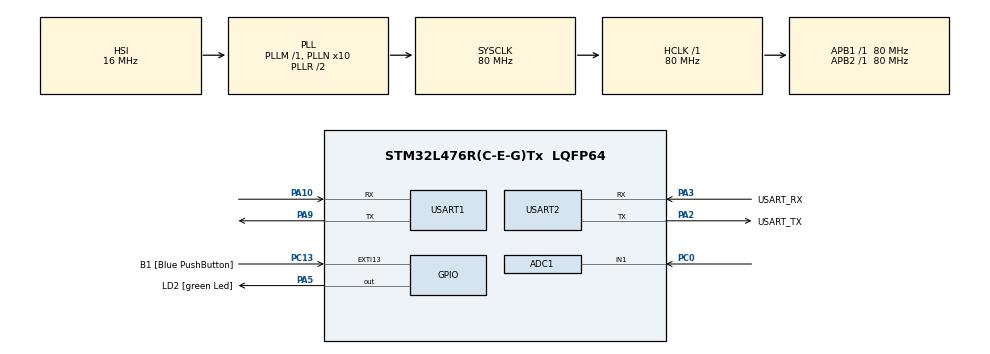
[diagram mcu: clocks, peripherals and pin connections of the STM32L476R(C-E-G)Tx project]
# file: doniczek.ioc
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ADC1.Channel-1\#ChannelRegularConversion=ADC_CHANNEL_1
ADC1.NbrOfConversionFlag=1
ADC1.OffsetNumber-1\#ChannelRegularConversion=ADC_OFFSET_NONE
ADC1.Rank-1\#ChannelRegularConversion=1
ADC1.SamplingTime-1\#ChannelRegularConversion=ADC_SAMPLETIME_2CYCLES_5
ADC1.master=1
Mcu.Family=STM32L4
Mcu.Name=STM32L476R(C-E-G)Tx
Mcu.Package=LQFP64
NVIC.PriorityGroup=NVIC_PRIORITYGROUP_4
PA0.Signal=ADCx_IN5
PA10.Mode=Asynchronous
PA10.Signal=USART1_RX
PA13\ (JTMS-SWDIO).GPIO_Label=TMS
PA13\ (JTMS-SWDIO).Mode=Serial_Wire
PA13\ (JTMS-SWDIO).Signal=SYS_JTMS-SWDIO
PA14\ (JTCK-SWCLK).GPIO_Label=TCK
PA14\ (JTCK-SWCLK).Mode=Serial_Wire
PA14\ (JTCK-SWCLK).Signal=SYS_JTCK-SWCLK
PA2.GPIO_Label=USART_TX
PA2.GPIO_Mode=GPIO_MODE_AF_PP
PA2.GPIO_PuPd=GPIO_NOPULL
PA2.GPIO_Speed=GPIO_SPEED_FREQ_VERY_HIGH
PA2.Mode=Asynchronous
PA2.Signal=USART2_TX
PA3.GPIO_Label=USART_RX
PA3.GPIO_Mode=GPIO_MODE_AF_PP
PA3.GPIO_PuPd=GPIO_NOPULL
PA3.GPIO_Speed=GPIO_SPEED_FREQ_VERY_HIGH
PA3.Mode=Asynchronous
PA3.Signal=USART2_RX
PA5.GPIO_Label=LD2 [green Led]
PA5.GPIO_ModeDefaultOutputPP=GPIO_MODE_OUTPUT_PP
PA5.GPIO_PuPd=GPIO_NOPULL
PA5.GPIO_Speed=GPIO_SPEED_FREQ_LOW
PA5.Signal=GPIO_Output
PA9.Mode=Asynchronous
PA9.Signal=USART1_TX
PB3\ (JTDO-TRACESWO).GPIO_Label=SWO
PB3\ (JTDO-TRACESWO).Signal=SYS_JTDO-SWO
PC0.Signal=ADCx_IN1
PC13.GPIO_Label=B1 [Blue PushButton]
PC13.GPIO_ModeDefaultEXTI=GPIO_MODE_IT_FALLING
PC13.GPIO_PuPd=GPIO_NOPULL
PC13.Signal=GPXTI13
PC14-OSC32_IN\ (PC14).Mode=LSE-External-Oscillator
PC14-OSC32_IN\ (PC14).Signal=RCC_OSC32_IN
PC15-OSC32_OUT\ (PC15).Mode=LSE-External-Oscillator
PC15-OSC32_OUT\ (PC15).Signal=RCC_OSC32_OUT
PH0-OSC_IN\ (PH0).Signal=RCC_OSC_IN
PH1-OSC_OUT\ (PH1).Signal=RCC_OSC_OUT
ProjectManager.HeapSize=0x200
ProjectManager.StackSize=0x400
ProjectManager.TargetToolchain=Makefile
RCC.ADCFreq_Value=64000000
RCC.AHBFreq_Value=80000000
RCC.APB1Freq_Value=80000000
RCC.APB1TimFreq_Value=80000000
RCC.APB2Freq_Value=80000000
RCC.APB2TimFreq_Value=80000000
RCC.CortexFreq_Value=80000000
RCC.HCLKFreq_Value=80000000
RCC.HSE_VALUE=8000000
RCC.HSI_VALUE=16000000
RCC.MSI_VALUE=4000000
RCC.PLLN=10
RCC.PLLSourceVirtual=RCC_PLLSOURCE_HSI
RCC.PREFETCH_ENABLE=1
RCC.SYSCLKFreq_VALUE=80000000
RCC.SYSCLKSource=RCC_SYSCLKSOURCE_PLLCLK
RCC.USBFreq_Value=64000000
RCC.VCOOutputFreq_Value=160000000
SH.ADCx_IN1.0=ADC1_IN1,IN1-Single-Ended
SH.ADCx_IN5.0=ADC1_IN5
USART1.VirtualMode-Asynchronous=VM_ASYNC
USART2.VirtualMode-Asynchronous=VM_ASYNC
board=NUCLEO-L476RG

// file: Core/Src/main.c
/* USER CODE BEGIN Header */
/**
  ******************************************************************************
  * @file           : main.c
  * @brief          : Main program body
  ******************************************************************************
  * @attention
  *
  * Copyright (c) 2023 STMicroelectronics.
  * All rights reserved.
  *
  * This software is licensed under terms that can be found in the LICENSE file
  * in the root directory of this software component.
  * If no LICENSE file comes with this software, it is provided AS-IS.
  *
  ******************************************************************************
  */
/* USER CODE END Header */
#include "main.h"

/* USER CODE BEGIN Includes */
#include "stdio.h"
/* USER CODE END Includes */

ADC_HandleTypeDef hadc1;

UART_HandleTypeDef huart1;
UART_HandleTypeDef huart2;

void SystemClock_Config(void);
static void MX_GPIO_Init(void);
static void MX_ADC1_Init(void);
static void MX_USART2_UART_Init(void);
static void MX_USART1_UART_Init(void);

/* USER CODE BEGIN 0 */

int __io_putchar(int ch)
{
  if (ch == '\n') {
    __io_putchar('\r');
  }

  HAL_UART_Transmit(&huart2, (uint8_t*)&ch, 1, HAL_MAX_DELAY);

  return 1;
}
/* USER CODE END 0 */

int main(void)
{
  /* USER CODE BEGIN 1 */
  char phoneNumber[30] = "AT+CMGS=\"+48*********\"\r\n";
  uint16_t raw;
  char msg[20];
  char gsm_test[10] = "AT\r\n";
  char response[20];
  /* USER CODE END 1 */

  /* MCU Configuration--------------------------------------------------------*/

  /* Reset of all peripherals, Initializes the Flash interface and the Systick. */
  HAL_Init();

  /* Configure the system clock */
  SystemClock_Config();

  /* Initialize all configured peripherals */
  MX_GPIO_Init();
  MX_ADC1_Init();
  MX_USART2_UART_Init();
  MX_USART1_UART_Init();
  /* USER CODE BEGIN 2 */
  HAL_UART_Transmit(&huart1,(uint8_t*)gsm_test,strlen(gsm_test),HAL_MAX_DELAY);
  HAL_UART_Receive(&huart1,(uint8_t*)response,10,1000);
  HAL_Delay(1000);
  HAL_UART_Transmit(&huart2,(uint8_t*)response,strlen(response),HAL_MAX_DELAY);
  /* USER CODE END 2 */

  /* Infinite loop */
  /* USER CODE BEGIN WHILE */
  while (1)
 {
  HAL_ADC_Start(&hadc1);
  HAL_ADC_PollForConversion(&hadc1, HAL_MAX_DELAY);

  raw = HAL_ADC_GetValue(&hadc1);
  float voltage = 3.3f * raw / 4096.0f;
  sprintf(msg, "Mamy wynik: %u\r\n",raw);

  // printf("ADC = %lu (%.3f V)\n", msg, voltage);
  // printf("XD\r\n");
  // HAL_UART_Transmit(&huart2,(uint8_t*)&msg,strlen(msg),HAL_MAX_DELAY);

  HAL_ADC_Start(&hadc1);
  HAL_ADC_PollForConversion(&hadc1, HAL_MAX_DELAY);

  uint32_t value = HAL_ADC_GetValue(&hadc1);
  printf("ADC = %lu\n", value);

  HAL_Delay(1000);
    /* USER CODE END WHILE */

  }
}

void SystemClock_Config(void)
{
  RCC_OscInitTypeDef RCC_OscInitStruct = {0};
  RCC_ClkInitTypeDef RCC_ClkInitStruct = {0};

  /** Configure the main internal regulator output voltage
  */
  if (HAL_PWREx_ControlVoltageScaling(PWR_REGULATOR_VOLTAGE_SCALE1) != HAL_OK)
  {
    Error_Handler();
  }

  /** Initializes the RCC Oscillators according to the specified parameters
  * in the RCC_OscInitTypeDef structure.
  */
  RCC_OscInitStruct.OscillatorType = RCC_OSCILLATORTYPE_HSI;
  RCC_OscInitStruct.HSIState = RCC_HSI_ON;
  RCC_OscInitStruct.HSICalibrationValue = RCC_HSICALIBRATION_DEFAULT;
  RCC_OscInitStruct.PLL.PLLState = RCC_PLL_ON;
  RCC_OscInitStruct.PLL.PLLSource = RCC_PLLSOURCE_HSI;
  RCC_OscInitStruct.PLL.PLLM = 1;
  RCC_OscInitStruct.PLL.PLLN = 10;
  RCC_OscInitStruct.PLL.PLLP = RCC_PLLP_DIV7;
  RCC_OscInitStruct.PLL.PLLQ = RCC_PLLQ_DIV2;
  RCC_OscInitStruct.PLL.PLLR = RCC_PLLR_DIV2;
  if (HAL_RCC_OscConfig(&RCC_OscInitStruct) != HAL_OK)
  {
    Error_Handler();
  }

  /** Initializes the CPU, AHB and APB buses clocks
  */
  RCC_ClkInitStruct.ClockType = RCC_CLOCKTYPE_HCLK|RCC_CLOCKTYPE_SYSCLK
                              |RCC_CLOCKTYPE_PCLK1|RCC_CLOCKTYPE_PCLK2;
  RCC_ClkInitStruct.SYSCLKSource = RCC_SYSCLKSOURCE_PLLCLK;
  RCC_ClkInitStruct.AHBCLKDivider = RCC_SYSCLK_DIV1;
  RCC_ClkInitStruct.APB1CLKDivider = RCC_HCLK_DIV1;
  RCC_ClkInitStruct.APB2CLKDivider = RCC_HCLK_DIV1;

  if (HAL_RCC_ClockConfig(&RCC_ClkInitStruct, FLASH_LATENCY_4) != HAL_OK)
  {
    Error_Handler();
  }
}

static void MX_ADC1_Init(void)
{

  ADC_MultiModeTypeDef multimode = {0};
  ADC_ChannelConfTypeDef sConfig = {0};

  /** Common config
  */
  hadc1.Instance = ADC1;
  hadc1.Init.ClockPrescaler = ADC_CLOCK_ASYNC_DIV1;
  hadc1.Init.Resolution = ADC_RESOLUTION_12B;
  hadc1.Init.DataAlign = ADC_DATAALIGN_RIGHT;
  hadc1.Init.ScanConvMode = ADC_SCAN_DISABLE;
  hadc1.Init.EOCSelection = ADC_EOC_SINGLE_CONV;
  hadc1.Init.LowPowerAutoWait = DISABLE;
  hadc1.Init.ContinuousConvMode = DISABLE;
  hadc1.Init.NbrOfConversion = 1;
  hadc1.Init.DiscontinuousConvMode = DISABLE;
  hadc1.Init.ExternalTrigConv = ADC_SOFTWARE_START;
  hadc1.Init.ExternalTrigConvEdge = ADC_EXTERNALTRIGCONVEDGE_NONE;
  hadc1.Init.DMAContinuousRequests = DISABLE;
  hadc1.Init.Overrun = ADC_OVR_DATA_PRESERVED;
  hadc1.Init.OversamplingMode = DISABLE;
  if (HAL_ADC_Init(&hadc1) != HAL_OK)
  {
    Error_Handler();
  }

  /** Configure the ADC multi-mode
  */
  multimode.Mode = ADC_MODE_INDEPENDENT;
  if (HAL_ADCEx_MultiModeConfigChannel(&hadc1, &multimode) != HAL_OK)
  {
    Error_Handler();
  }

  /** Configure Regular Channel
  */
  sConfig.Channel = ADC_CHANNEL_1;
  sConfig.Rank = ADC_REGULAR_RANK_1;
  sConfig.SamplingTime = ADC_SAMPLETIME_2CYCLES_5;
  sConfig.SingleDiff = ADC_SINGLE_ENDED;
  sConfig.OffsetNumber = ADC_OFFSET_NONE;
  sConfig.Offset = 0;
  if (HAL_ADC_ConfigChannel(&hadc1, &sConfig) != HAL_OK)
  {
    Error_Handler();
  }

}

static void MX_USART1_UART_Init(void)
{

  huart1.Instance = USART1;
  huart1.Init.BaudRate = 115200;
  huart1.Init.WordLength = UART_WORDLENGTH_8B;
  huart1.Init.StopBits = UART_STOPBITS_1;
  huart1.Init.Parity = UART_PARITY_NONE;
  huart1.Init.Mode = UART_MODE_TX_RX;
  huart1.Init.HwFlowCtl = UART_HWCONTROL_NONE;
  huart1.Init.OverSampling = UART_OVERSAMPLING_16;
  huart1.Init.OneBitSampling = UART_ONE_BIT_SAMPLE_DISABLE;
  huart1.AdvancedInit.AdvFeatureInit = UART_ADVFEATURE_NO_INIT;
  if (HAL_UART_Init(&huart1) != HAL_OK)
  {
    Error_Handler();
  }

}

static void MX_USART2_UART_Init(void)
{

  huart2.Instance = USART2;
  huart2.Init.BaudRate = 115200;
  huart2.Init.WordLength = UART_WORDLENGTH_8B;
  huart2.Init.StopBits = UART_STOPBITS_1;
  huart2.Init.Parity = UART_PARITY_NONE;
  huart2.Init.Mode = UART_MODE_TX_RX;
  huart2.Init.HwFlowCtl = UART_HWCONTROL_NONE;
  huart2.Init.OverSampling = UART_OVERSAMPLING_16;
  huart2.Init.OneBitSampling = UART_ONE_BIT_SAMPLE_DISABLE;
  huart2.AdvancedInit.AdvFeatureInit = UART_ADVFEATURE_NO_INIT;
  if (HAL_UART_Init(&huart2) != HAL_OK)
  {
    Error_Handler();
  }

}

static void MX_GPIO_Init(void)
{
  GPIO_InitTypeDef GPIO_InitStruct = {0};

  /* GPIO Ports Clock Enable */
  __HAL_RCC_GPIOC_CLK_ENABLE();
  __HAL_RCC_GPIOH_CLK_ENABLE();
  __HAL_RCC_GPIOA_CLK_ENABLE();
  __HAL_RCC_GPIOB_CLK_ENABLE();

  /*Configure GPIO pin Output Level */
  HAL_GPIO_WritePin(LD2_GPIO_Port, LD2_Pin, GPIO_PIN_RESET);

  /*Configure GPIO pin : B1_Pin */
  GPIO_InitStruct.Pin = B1_Pin;
  GPIO_InitStruct.Mode = GPIO_MODE_IT_FALLING;
  GPIO_InitStruct.Pull = GPIO_NOPULL;
  HAL_GPIO_Init(B1_GPIO_Port, &GPIO_InitStruct);

  /*Configure GPIO pin : LD2_Pin */
  GPIO_InitStruct.Pin = LD2_Pin;
  GPIO_InitStruct.Mode = GPIO_MODE_OUTPUT_PP;
  GPIO_InitStruct.Pull = GPIO_NOPULL;
  GPIO_InitStruct.Speed = GPIO_SPEED_FREQ_LOW;
  HAL_GPIO_Init(LD2_GPIO_Port, &GPIO_InitStruct);

}

void Error_Handler(void)
{
  __disable_irq();
  while (1)
  {
  }
}
